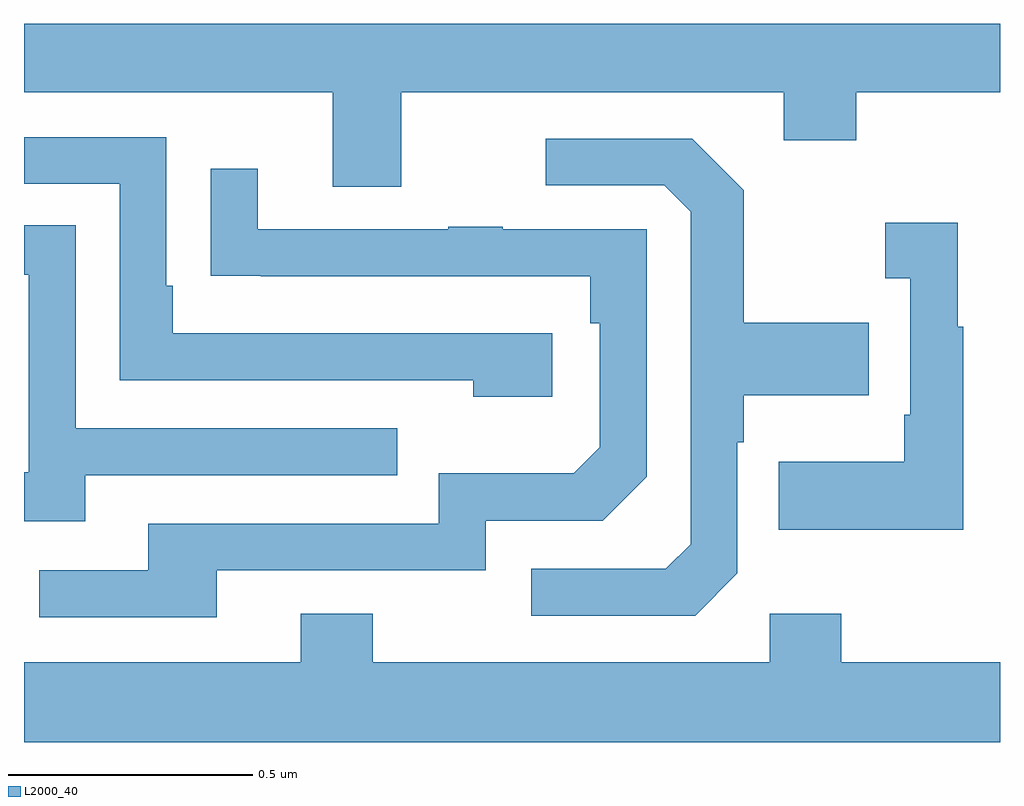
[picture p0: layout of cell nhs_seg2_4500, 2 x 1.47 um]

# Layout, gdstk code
import gdstk
lib = gdstk.Library(unit=1e-6, precision=1e-09)
def P(c, l, *ps):  # polygons
    for p in ps: c.add(gdstk.Polygon(p, *l))
L2000_40 = (2000, 40)

nhs_seg2_4500 = lib.new_cell('nhs_seg2_4500')
P(nhs_seg2_4500, L2000_40, [(167.773,623.66),(168.557,623.66),(168.557,623.561),(168.705,623.561),(168.705,623.66),(169,623.66),(169,623.8),(167,623.8),(167,623.66),(167.633,623.66),(167.633,623.466),(167.773,623.466)],
  [(168.082,623.166),(167.305,623.166),(167.305,623.263),(167.292,623.263),(167.292,623.568),(167,623.568),(167,623.472),(167.196,623.472),(167.196,623.07),(167.921,623.07),(167.921,623.036),(168.082,623.036)],
  [(168.462,622.674),(168.462,622.943),(168.475,622.943),(168.475,623.039),(168.731,623.039),(168.731,623.187),(168.475,623.187),(168.475,623.459),(168.369,623.565),(168.069,623.565),(168.069,623.469),(168.312,623.469),(168.366,623.415),(168.366,622.734),(168.315,622.683),(168.039,622.683),(168.039,622.587),(168.375,622.587)],
  [(167.395,622.68),(167.946,622.68),(167.946,622.782),(168.186,622.782),(168.276,622.872),(168.276,623.379),(167.981,623.379),(167.981,623.384),(167.869,623.384),(167.869,623.379),(167.479,623.379),(167.479,623.503),(167.383,623.503),(167.383,623.284),(167.485,623.284),(167.485,623.283),(168.16,623.283),(168.16,623.186),(168.18,623.186),(168.18,622.932),(168.127,622.879),(167.85,622.879),(167.85,622.776),(167.255,622.776),(167.255,622.68),(167.031,622.68),(167.031,622.584),(167.395,622.584)],
  [(168.925,623.179),(168.913,623.179),(168.913,623.392),(168.765,623.392),(168.765,623.279),(168.816,623.279),(168.816,622.999),(168.804,622.999),(168.804,622.903),(168.547,622.903),(168.547,622.763),(168.925,622.763)],
  [(167.125,622.875),(167.765,622.875),(167.765,622.971),(167.106,622.971),(167.106,623.387),(167,623.387),(167,623.286),(167.01,623.286),(167.01,622.881),(167,622.881),(167,622.781),(167.125,622.781)],
  [(169,622.492),(168.675,622.492),(168.675,622.591),(168.528,622.591),(168.528,622.492),(167.715,622.492),(167.715,622.591),(167.567,622.591),(167.567,622.492),(167,622.492),(167,622.328),(169,622.328)])

lib.write_gds('nhs_seg2_4500.gds')
